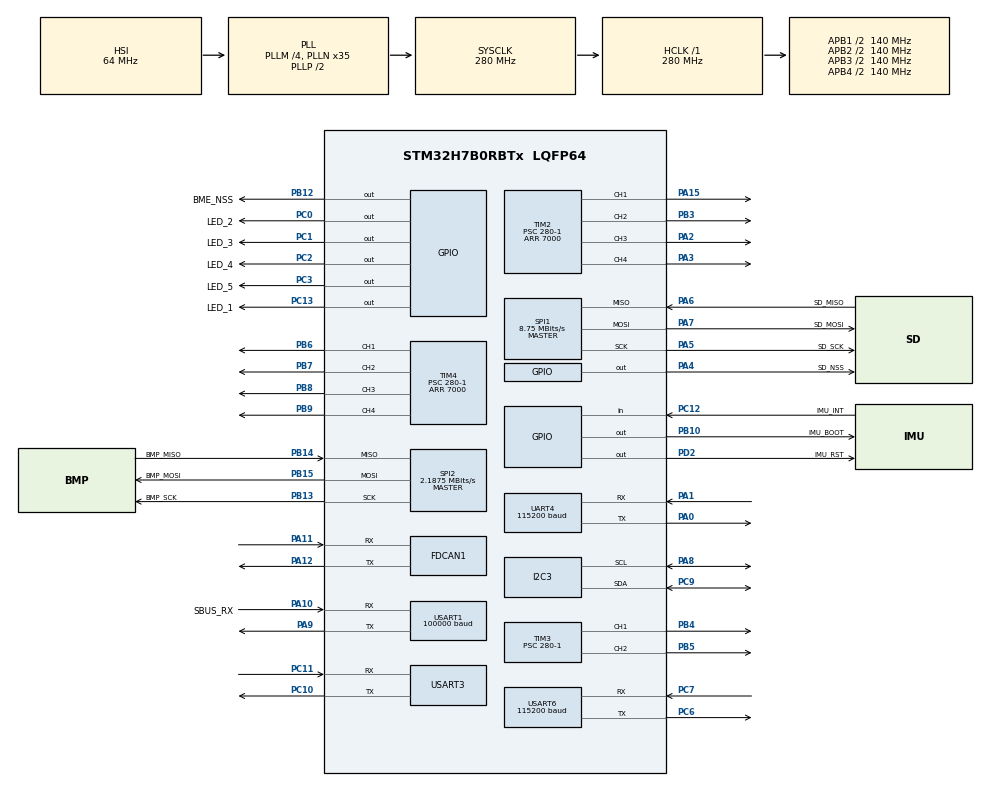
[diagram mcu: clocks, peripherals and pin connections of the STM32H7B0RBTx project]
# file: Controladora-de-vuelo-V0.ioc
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CORTEX_M7.default_mode_Activation=1
Dma.Request0=USART3_RX
Dma.Request1=USART1_RX
Dma.USART1_RX.1.Direction=DMA_PERIPH_TO_MEMORY
Dma.USART1_RX.1.EventEnable=DISABLE
Dma.USART1_RX.1.FIFOMode=DMA_FIFOMODE_DISABLE
Dma.USART1_RX.1.Instance=DMA1_Stream0
Dma.USART1_RX.1.MemDataAlignment=DMA_MDATAALIGN_BYTE
Dma.USART1_RX.1.MemInc=DMA_MINC_ENABLE
Dma.USART1_RX.1.Mode=DMA_NORMAL
Dma.USART1_RX.1.PeriphDataAlignment=DMA_PDATAALIGN_BYTE
Dma.USART1_RX.1.PeriphInc=DMA_PINC_DISABLE
Dma.USART1_RX.1.Polarity=HAL_DMAMUX_REQ_GEN_RISING
Dma.USART1_RX.1.Priority=DMA_PRIORITY_MEDIUM
Dma.USART1_RX.1.RequestNumber=1
Dma.USART1_RX.1.SignalID=NONE
Dma.USART1_RX.1.SyncEnable=DISABLE
Dma.USART1_RX.1.SyncPolarity=HAL_DMAMUX_SYNC_NO_EVENT
Dma.USART1_RX.1.SyncRequestNumber=1
Dma.USART1_RX.1.SyncSignalID=NONE
Dma.USART3_RX.0.Direction=DMA_PERIPH_TO_MEMORY
Dma.USART3_RX.0.EventEnable=DISABLE
Dma.USART3_RX.0.FIFOMode=DMA_FIFOMODE_DISABLE
Dma.USART3_RX.0.Instance=DMA1_Stream1
Dma.USART3_RX.0.MemDataAlignment=DMA_MDATAALIGN_BYTE
Dma.USART3_RX.0.MemInc=DMA_MINC_ENABLE
Dma.USART3_RX.0.Mode=DMA_NORMAL
Dma.USART3_RX.0.PeriphDataAlignment=DMA_PDATAALIGN_BYTE
Dma.USART3_RX.0.PeriphInc=DMA_PINC_DISABLE
Dma.USART3_RX.0.Polarity=HAL_DMAMUX_REQ_GEN_RISING
Dma.USART3_RX.0.Priority=DMA_PRIORITY_LOW
Dma.USART3_RX.0.RequestNumber=1
Dma.USART3_RX.0.SignalID=NONE
Dma.USART3_RX.0.SyncEnable=DISABLE
Dma.USART3_RX.0.SyncPolarity=HAL_DMAMUX_SYNC_NO_EVENT
Dma.USART3_RX.0.SyncRequestNumber=1
Dma.USART3_RX.0.SyncSignalID=NONE
FATFS._FS_LOCK=0
FATFS._FS_NORTC=1
FATFS._FS_RPATH=2
FATFS._NORTC_MDAY=11
FATFS._NORTC_MON=9
FATFS._NORTC_YEAR=2025
FATFS._USE_CHMOD=1
FATFS._USE_FASTSEEK=1
FATFS._USE_LABEL=0
FATFS._USE_LFN=3
FATFS._USE_MUTEX=1
FDCAN1.CalculateBaudRateNominal=1600000
FDCAN1.CalculateTimeBitNominal=625
FDCAN1.CalculateTimeQuantumNominal=125.0
FREERTOS.INCLUDE_uxTaskGetStackHighWaterMark=0
FREERTOS.Tasks01=Task_1ms,0,256,fTask_1ms,Default,NULL,Dynamic,NULL,NULL;Task_10ms,0,256,fTask_10ms,Default,NULL,Dynamic,NULL,NULL;Task_100ms,0,256,fTask_100ms,Default,NULL,Dynamic,NULL,NULL;taskSd,2,512,startTaskSd,Default,NULL,Dynamic,NULL,NULL
FREERTOS.configMINIMAL_STACK_SIZE=256
FREERTOS.configTOTAL_HEAP_SIZE=10240
FREERTOS.configUSE_COUNTING_SEMAPHORES=1
FREERTOS.configUSE_RECURSIVE_MUTEXES=1
FREERTOS.configUSE_TRACE_FACILITY=1
I2C3.Timing=0x20B0CCFF
Mcu.Family=STM32H7
Mcu.Name=STM32H7B0RBTx
Mcu.Package=LQFP64
NVIC.DMA1_Stream0_IRQn=true\:5\:0\:false\:false\:true\:true\:false\:true\:true
NVIC.DMA1_Stream1_IRQn=true\:5\:0\:false\:false\:true\:true\:false\:true\:true
NVIC.PriorityGroup=NVIC_PRIORITYGROUP_4
NVIC.TIM17_IRQn=true\:15\:0\:false\:false\:true\:false\:false\:true\:true
NVIC.TimeBase=TIM17_IRQn
NVIC.TimeBaseIP=TIM17
NVIC.UART4_IRQn=true\:5\:0\:false\:false\:true\:true\:true\:true\:true
NVIC.USART1_IRQn=true\:5\:0\:false\:false\:true\:true\:true\:true\:true
NVIC.USART3_IRQn=true\:5\:0\:false\:false\:true\:true\:true\:true\:true
NVIC.USART6_IRQn=true\:5\:0\:false\:false\:true\:true\:true\:true\:true
PA0.Mode=Asynchronous
PA0.Signal=UART4_TX
PA1.Mode=Asynchronous
PA1.Signal=UART4_RX
PA10.GPIO_Label=SBUS_RX
PA10.Mode=Asynchronous
PA10.Signal=USART1_RX
PA11.Mode=FDCAN_Activate
PA11.Signal=FDCAN1_RX
PA12.Mode=FDCAN_Activate
PA12.Signal=FDCAN1_TX
PA13.Mode=Serial_Wire
PA13.Signal=DEBUG_JTMS-SWDIO
PA14.Mode=Serial_Wire
PA14.Signal=DEBUG_JTCK-SWCLK
PA15.Signal=S_TIM2_CH1_ETR
PA2.Signal=S_TIM2_CH3
PA3.Signal=S_TIM2_CH4
PA4.GPIO_Label=SD_NSS
PA4.GPIO_PuPd=GPIO_PULLUP
PA4.PinState=GPIO_PIN_SET
PA4.Signal=GPIO_Output
PA5.GPIO_Label=SD_SCK
PA5.GPIO_Speed=GPIO_SPEED_FREQ_VERY_HIGH
PA5.Mode=Full_Duplex_Master
PA5.Signal=SPI1_SCK
PA6.GPIO_Label=SD_MISO
PA6.GPIO_PuPd=GPIO_PULLUP
PA6.GPIO_Speed=GPIO_SPEED_FREQ_VERY_HIGH
PA6.Mode=Full_Duplex_Master
PA6.Signal=SPI1_MISO
PA7.GPIO_Label=SD_MOSI
PA7.GPIO_PuPd=GPIO_PULLUP
PA7.GPIO_Speed=GPIO_SPEED_FREQ_VERY_HIGH
PA7.Mode=Full_Duplex_Master
PA7.Signal=SPI1_MOSI
PA8.Mode=I2C
PA8.Signal=I2C3_SCL
PA9.Mode=Asynchronous
PA9.Signal=USART1_TX
PB10.GPIO_Label=IMU_BOOT
PB10.Signal=GPIO_Output
PB12.GPIO_Label=BME_NSS
PB12.Signal=GPIO_Output
PB13.GPIO_Label=BMP_SCK
PB13.Mode=Full_Duplex_Master
PB13.Signal=SPI2_SCK
PB14.GPIO_Label=BMP_MISO
PB14.Mode=Full_Duplex_Master
PB14.Signal=SPI2_MISO
PB15.GPIO_Label=BMP_MOSI
PB15.Mode=Full_Duplex_Master
PB15.Signal=SPI2_MOSI
PB3.Signal=S_TIM2_CH2
PB4.Signal=S_TIM3_CH1
PB5.Signal=S_TIM3_CH2
PB6.Signal=S_TIM4_CH1
PB7.Signal=S_TIM4_CH2
PB8.Signal=S_TIM4_CH3
PB9.Signal=S_TIM4_CH4
PC0.GPIO_Label=LED_2
PC0.Signal=GPIO_Output
PC1.GPIO_Label=LED_3
PC1.Signal=GPIO_Output
PC10.Mode=Asynchronous
PC10.Signal=USART3_TX
PC11.Mode=Asynchronous
PC11.Signal=USART3_RX
PC12.GPIO_Label=IMU_INT
PC12.Signal=GPIO_Input
PC13.GPIO_Label=LED_1
PC13.Signal=GPIO_Output
PC14-OSC32_IN.Mode=LSE-External-Oscillator
PC14-OSC32_IN.Signal=RCC_OSC32_IN
PC15-OSC32_OUT.Mode=LSE-External-Oscillator
PC15-OSC32_OUT.Signal=RCC_OSC32_OUT
PC2.GPIO_Label=LED_4
PC2.Signal=GPIO_Output
PC3.GPIO_Label=LED_5
PC3.Signal=GPIO_Output
PC6.Mode=Asynchronous
PC6.Signal=USART6_TX
PC7.Mode=Asynchronous
PC7.Signal=USART6_RX
PC9.Mode=I2C
PC9.Signal=I2C3_SDA
PD2.GPIO_Label=IMU_RST
PD2.GPIO_ModeDefaultOutputPP=GPIO_MODE_OUTPUT_PP
PD2.GPIO_PuPd=GPIO_NOPULL
PD2.Signal=GPIO_Output
ProjectManager.HeapSize=0x200
ProjectManager.StackSize=0x400
ProjectManager.TargetToolchain=STM32CubeIDE
RCC.ADCFreq_Value=64000000
RCC.APB1Freq_Value=140000000
RCC.APB2Freq_Value=140000000
RCC.APB3Freq_Value=140000000
RCC.APB4Freq_Value=140000000
RCC.CDPPRE=RCC_APB3_DIV2
RCC.CDPPRE1=RCC_APB1_DIV2
RCC.CDPPRE2=RCC_APB2_DIV2
RCC.CortexFreq_Value=280000000
RCC.DIVM1=4
RCC.DIVM2=4
RCC.DIVN1=35
RCC.DIVN2=8
RCC.DIVQ2=1
RCC.FDCANCLockSelection=RCC_FDCANCLKSOURCE_PLL2
RCC.HCLKFreq_Value=280000000
RCC.PLL2FRACN=0
RCC.PLL3FRACN=0
RCC.PLLFRACN=0
RCC.SRDPPRE=RCC_APB4_DIV2
RCC.SYSCLKFreq_VALUE=280000000
RCC.SYSCLKSource=RCC_SYSCLKSOURCE_PLLCLK
RCC.USBFreq_Value=280000000
SH.S_TIM2_CH1_ETR.0=TIM2_CH1,PWM Generation1 CH1
SH.S_TIM2_CH2.0=TIM2_CH2,PWM Generation2 CH2
SH.S_TIM2_CH3.0=TIM2_CH3,PWM Generation3 CH3
SH.S_TIM2_CH4.0=TIM2_CH4,PWM Generation4 CH4
SH.S_TIM3_CH1.0=TIM3_CH1,PWM Generation1 CH1
SH.S_TIM3_CH2.0=TIM3_CH2,PWM Generation2 CH2
SH.S_TIM4_CH1.0=TIM4_CH1,PWM Generation1 CH1
SH.S_TIM4_CH2.0=TIM4_CH2,PWM Generation2 CH2
SH.S_TIM4_CH3.0=TIM4_CH3,PWM Generation3 CH3
SH.S_TIM4_CH4.0=TIM4_CH4,PWM Generation4 CH4
SPI1.BaudRatePrescaler=SPI_BAUDRATEPRESCALER_32
SPI1.CalculateBaudRate=8.75 MBits/s
SPI1.DataSize=SPI_DATASIZE_8BIT
SPI1.Direction=SPI_DIRECTION_2LINES
SPI1.Mode=SPI_MODE_MASTER
SPI1.VirtualType=VM_MASTER
SPI2.BaudRatePrescaler=SPI_BAUDRATEPRESCALER_128
SPI2.CalculateBaudRate=2.1875 MBits/s
SPI2.DataSize=SPI_DATASIZE_8BIT
SPI2.Direction=SPI_DIRECTION_2LINES
SPI2.Mode=SPI_MODE_MASTER
SPI2.VirtualType=VM_MASTER
TIM13.AutoReloadPreload=TIM_AUTORELOAD_PRELOAD_ENABLE
TIM13.Prescaler=280-1
TIM2.AutoReloadPreload=TIM_AUTORELOAD_PRELOAD_ENABLE
TIM2.Channel-PWM\ Generation1\ CH1=TIM_CHANNEL_1
TIM2.Channel-PWM\ Generation2\ CH2=TIM_CHANNEL_2
TIM2.Channel-PWM\ Generation3\ CH3=TIM_CHANNEL_3
TIM2.Channel-PWM\ Generation4\ CH4=TIM_CHANNEL_4
TIM2.Period=7000
TIM2.Prescaler=280-1
TIM3.AutoReloadPreload=TIM_AUTORELOAD_PRELOAD_ENABLE
TIM3.Channel-PWM\ Generation1\ CH1=TIM_CHANNEL_1
TIM3.Channel-PWM\ Generation2\ CH2=TIM_CHANNEL_2
TIM3.Period=7000
TIM3.Prescaler=280-1
TIM4.AutoReloadPreload=TIM_AUTORELOAD_PRELOAD_ENABLE
TIM4.Channel-PWM\ Generation1\ CH1=TIM_CHANNEL_1
TIM4.Channel-PWM\ Generation2\ CH2=TIM_CHANNEL_2
TIM4.Channel-PWM\ Generation3\ CH3=TIM_CHANNEL_3
TIM4.Channel-PWM\ Generation4\ CH4=TIM_CHANNEL_4
TIM4.Period=7000
TIM4.Prescaler=280-1
UART4.BaudRate=115200
USART1.BaudRate=100000
USART1.Parity=PARITY_EVEN
USART1.VirtualMode-Asynchronous=VM_ASYNC
USART1.WordLength=WORDLENGTH_9B
USART3.VirtualMode-Asynchronous=VM_ASYNC
USART6.BaudRate=115200
USART6.VirtualMode=VM_ASYNC
VP_FATFS_VS_Generic.Mode=User_defined
VP_FREERTOS_VS_CMSIS_V1.Mode=CMSIS_V1
VP_MEMORYMAP_VS_MEMORYMAP.Mode=CurAppReg
VP_SYS_VS_tim17.Mode=TIM17
VP_TIM13_VS_ClockSourceINT.Mode=Enable_Timer
board=custom

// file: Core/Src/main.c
/* USER CODE BEGIN Header */
/**
  ******************************************************************************
  * @file           : main.c
  * @brief          : Main program body
  ******************************************************************************
  * @attention
  *
  * Copyright (c) 2025 STMicroelectronics.
  * All rights reserved.
  *
  * This software is licensed under terms that can be found in the LICENSE file
  * in the root directory of this software component.
  * If no LICENSE file comes with this software, it is provided AS-IS.
  *
  ******************************************************************************
  */
/* USER CODE END Header */
#include "main.h"
#include "cmsis_os.h"
#include "dma.h"
#include "fatfs.h"
#include "fdcan.h"
#include "i2c.h"
#include "spi.h"
#include "tim.h"
#include "usart.h"
#include "gpio.h"

/* USER CODE BEGIN Includes */
#include "Libraries/SD.h"
#include "Libraries/BMP280.h"
#include "Libraries/SBUS.h"
#include "Libraries/LED.h"
#include "Libraries/BNO050.h"
#include "Libraries/PWM.h"
#include "Libraries/Lora_LR03.h"
#include "Libraries/MTI7.h"
#include "libNMEA.h"

/* USER CODE END Includes */

/* USER CODE BEGIN PV */
#define RxBuffer_SIZE 64  //configure uart receive buffer size
#define DataBuffer_SIZE 512 //gather a few rxBuffer frames before parsing

extern uint8_t SBUS_RxBuffer;
extern DMA_HandleTypeDef hdma_uart4_rx;

uint8_t LR03_RxByte = 0;
uint32_t TimeOn_Counter = 0x00;

uint8_t SD_StoreFlag;
/* USER CODE END PV */

void SystemClock_Config(void);
static void MPU_Config(void);
void MX_FREERTOS_Init(void);

int main(void)
{

  /* MPU Configuration--------------------------------------------------------*/
  MPU_Config();

  /* MCU Configuration--------------------------------------------------------*/

  /* Reset of all peripherals, Initializes the Flash interface and the Systick. */
  HAL_Init();

  /* Configure the system clock */
  SystemClock_Config();

  /* Initialize all configured peripherals */
  MX_GPIO_Init();
  MX_DMA_Init();
  MX_FDCAN1_Init();
  MX_I2C3_Init();
  MX_SPI1_Init();
  MX_SPI2_Init();
  MX_TIM2_Init();
  MX_TIM3_Init();
  MX_TIM4_Init();
  MX_UART4_Init();
  MX_USART1_UART_Init();
  MX_USART6_UART_Init();
  MX_TIM13_Init();
  MX_USART3_UART_Init();
  MX_FATFS_Init();
  /* USER CODE BEGIN 2 */
  BMP280_init();
  SD_init();
  SBUS_init();
  MTI7_init();

  /* USER CODE END 2 */

  /* Call init function for freertos objects (in cmsis_os2.c) */
  MX_FREERTOS_Init();

  /* Start scheduler */
  osKernelStart();

  /* We should never get here as control is now taken by the scheduler */

  /* Infinite loop */
  while (1)
  {

  }
}

void SystemClock_Config(void)
{
  RCC_OscInitTypeDef RCC_OscInitStruct = {0};
  RCC_ClkInitTypeDef RCC_ClkInitStruct = {0};

  /*AXI clock gating */
  RCC->CKGAENR = 0xFFFFFFFF;

  /** Supply configuration update enable
  */
  HAL_PWREx_ConfigSupply(PWR_LDO_SUPPLY);

  /** Configure the main internal regulator output voltage
  */
  __HAL_PWR_VOLTAGESCALING_CONFIG(PWR_REGULATOR_VOLTAGE_SCALE0);

  while(!__HAL_PWR_GET_FLAG(PWR_FLAG_VOSRDY)) {}

  /** Initializes the RCC Oscillators according to the specified parameters
  * in the RCC_OscInitTypeDef structure.
  */
  RCC_OscInitStruct.OscillatorType = RCC_OSCILLATORTYPE_HSI;
  RCC_OscInitStruct.HSIState = RCC_HSI_DIV1;
  RCC_OscInitStruct.HSICalibrationValue = 64;
  RCC_OscInitStruct.PLL.PLLState = RCC_PLL_ON;
  RCC_OscInitStruct.PLL.PLLSource = RCC_PLLSOURCE_HSI;
  RCC_OscInitStruct.PLL.PLLM = 4;
  RCC_OscInitStruct.PLL.PLLN = 35;
  RCC_OscInitStruct.PLL.PLLP = 2;
  RCC_OscInitStruct.PLL.PLLQ = 2;
  RCC_OscInitStruct.PLL.PLLR = 2;
  RCC_OscInitStruct.PLL.PLLRGE = RCC_PLL1VCIRANGE_3;
  RCC_OscInitStruct.PLL.PLLVCOSEL = RCC_PLL1VCOWIDE;
  RCC_OscInitStruct.PLL.PLLFRACN = 0;
  if (HAL_RCC_OscConfig(&RCC_OscInitStruct) != HAL_OK)
  {
    Error_Handler();
  }

  /** Initializes the CPU, AHB and APB buses clocks
  */
  RCC_ClkInitStruct.ClockType = RCC_CLOCKTYPE_HCLK|RCC_CLOCKTYPE_SYSCLK
                              |RCC_CLOCKTYPE_PCLK1|RCC_CLOCKTYPE_PCLK2
                              |RCC_CLOCKTYPE_D3PCLK1|RCC_CLOCKTYPE_D1PCLK1;
  RCC_ClkInitStruct.SYSCLKSource = RCC_SYSCLKSOURCE_PLLCLK;
  RCC_ClkInitStruct.SYSCLKDivider = RCC_SYSCLK_DIV1;
  RCC_ClkInitStruct.AHBCLKDivider = RCC_HCLK_DIV1;
  RCC_ClkInitStruct.APB3CLKDivider = RCC_APB3_DIV2;
  RCC_ClkInitStruct.APB1CLKDivider = RCC_APB1_DIV2;
  RCC_ClkInitStruct.APB2CLKDivider = RCC_APB2_DIV2;
  RCC_ClkInitStruct.APB4CLKDivider = RCC_APB4_DIV2;

  if (HAL_RCC_ClockConfig(&RCC_ClkInitStruct, FLASH_LATENCY_6) != HAL_OK)
  {
    Error_Handler();
  }
}

/* USER CODE BEGIN 4 */

void HAL_UART_RxCpltCallback(UART_HandleTypeDef *huart)
{
	if (huart -> Instance == USART1){
		SBUS_RxIRQ();
	}
    else if (huart -> Instance == USART6){
    	MTI7_RxIRQ();
    }

}

/* USER CODE END 4 */

 /* MPU Configuration */

void MPU_Config(void)
{
  MPU_Region_InitTypeDef MPU_InitStruct = {0};

  /* Disables the MPU */
  HAL_MPU_Disable();

  /** Initializes and configures the Region and the memory to be protected
  */
  MPU_InitStruct.Enable = MPU_REGION_ENABLE;
  MPU_InitStruct.Number = MPU_REGION_NUMBER0;
  MPU_InitStruct.BaseAddress = 0x0;
  MPU_InitStruct.Size = MPU_REGION_SIZE_4GB;
  MPU_InitStruct.SubRegionDisable = 0x87;
  MPU_InitStruct.TypeExtField = MPU_TEX_LEVEL0;
  MPU_InitStruct.AccessPermission = MPU_REGION_NO_ACCESS;
  MPU_InitStruct.DisableExec = MPU_INSTRUCTION_ACCESS_DISABLE;
  MPU_InitStruct.IsShareable = MPU_ACCESS_SHAREABLE;
  MPU_InitStruct.IsCacheable = MPU_ACCESS_NOT_CACHEABLE;
  MPU_InitStruct.IsBufferable = MPU_ACCESS_NOT_BUFFERABLE;

  HAL_MPU_ConfigRegion(&MPU_InitStruct);
  /* Enables the MPU */
  HAL_MPU_Enable(MPU_PRIVILEGED_DEFAULT);

}

void HAL_TIM_PeriodElapsedCallback(TIM_HandleTypeDef *htim)
{
  if (htim->Instance == TIM17) {
    HAL_IncTick();
  }
}

void Error_Handler(void)
{
  __disable_irq();
  while (1)
  {
  }
}

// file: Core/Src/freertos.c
/* USER CODE BEGIN Header */
/**
  ******************************************************************************
  * File Name          : freertos.c
  * Description        : Code for freertos applications
  ******************************************************************************
  * @attention
  *
  * Copyright (c) 2025 STMicroelectronics.
  * All rights reserved.
  *
  * This software is licensed under terms that can be found in the LICENSE file
  * in the root directory of this software component.
  * If no LICENSE file comes with this software, it is provided AS-IS.
  *
  ******************************************************************************
  */
/* USER CODE END Header */

#include "FreeRTOS.h"
#include "task.h"
#include "main.h"
#include "cmsis_os.h"

/* USER CODE BEGIN Includes */
#include "Libraries/SD.h"
#include "Libraries/BMP280.h"
#include "Libraries/SBUS.h"
#include "Libraries/LED.h"
#include "Libraries/BNO050.h"
#include "Libraries/PWM.h"
#include "Libraries/Lora_LR03.h"
#include "Libraries/MTI7.h"
#include "Flight_Management_Control/flight_management.h"
#include "Flight_Management_Control/INS.h"
#include "libNMEA.h"
/* USER CODE END Includes */

osThreadId Task_1msHandle;
osThreadId Task_10msHandle;
osThreadId Task_100msHandle;
osThreadId taskSdHandle;

void fTask_1ms(void const * argument);
void fTask_10ms(void const * argument);
void fTask_100ms(void const * argument);
void startTaskSd(void const * argument);

void MX_FREERTOS_Init(void); /* (MISRA C 2004 rule 8.1) */

/* GetIdleTaskMemory prototype (linked to static allocation support) */
void vApplicationGetIdleTaskMemory( StaticTask_t **ppxIdleTaskTCBBuffer, StackType_t **ppxIdleTaskStackBuffer, uint32_t *pulIdleTaskStackSize );

/* USER CODE BEGIN GET_IDLE_TASK_MEMORY */
static StaticTask_t xIdleTaskTCBBuffer;
static StackType_t xIdleStack[configMINIMAL_STACK_SIZE];

void vApplicationGetIdleTaskMemory( StaticTask_t **ppxIdleTaskTCBBuffer, StackType_t **ppxIdleTaskStackBuffer, uint32_t *pulIdleTaskStackSize )
{
  *ppxIdleTaskTCBBuffer = &xIdleTaskTCBBuffer;
  *ppxIdleTaskStackBuffer = &xIdleStack[0];
  *pulIdleTaskStackSize = configMINIMAL_STACK_SIZE;
  /* place for user code */
}
/* USER CODE END GET_IDLE_TASK_MEMORY */

void MX_FREERTOS_Init(void) {

  /* Create the thread(s) */
  /* definition and creation of Task_1ms */
  osThreadDef(Task_1ms, fTask_1ms, osPriorityNormal, 0, 256);
  Task_1msHandle = osThreadCreate(osThread(Task_1ms), NULL);

  /* definition and creation of Task_10ms */
  osThreadDef(Task_10ms, fTask_10ms, osPriorityNormal, 0, 256);
  Task_10msHandle = osThreadCreate(osThread(Task_10ms), NULL);

  /* definition and creation of Task_100ms */
  osThreadDef(Task_100ms, fTask_100ms, osPriorityNormal, 0, 256);
  Task_100msHandle = osThreadCreate(osThread(Task_100ms), NULL);

  /* definition and creation of taskSd */
  osThreadDef(taskSd, startTaskSd, osPriorityHigh, 0, 512);
  taskSdHandle = osThreadCreate(osThread(taskSd), NULL);

}

void fTask_1ms(void const * argument)
{
  /* USER CODE BEGIN fTask_1ms */

  /* Infinite loop */

  for(;;)
  {
	TimeOn_Counter++;
	LED_Tasks();
	SBUS_IntegrityVerification();
	SBUS_task();
	MTI7_Tasks();
    osDelay(1);
  }
  /* USER CODE END fTask_1ms */
}

void fTask_10ms(void const * argument)
{
  /* USER CODE BEGIN fTask_10ms */
	FlightControl_inits();
  /* Infinite loop */
  for(;;)
  {
	INS_RefreshData();

	BMP280_calculate();

	FlightTaskAttitude();

	PWM_Assign();

    osDelay(10);
  }
  /* USER CODE END fTask_10ms */
}

void fTask_100ms(void const * argument)
{
  /* USER CODE BEGIN fTask_100ms */
  /* Infinite loop */
  for(;;)
  {
    osDelay(100);
  }
  /* USER CODE END fTask_100ms */
}

void startTaskSd(void const * argument)
{
  /* USER CODE BEGIN startTaskSd */
  /* Infinite loop */
  for(;;)
  {

	SD_blackbox_write();
    osDelay(10);
  }
  /* USER CODE END startTaskSd */
}
